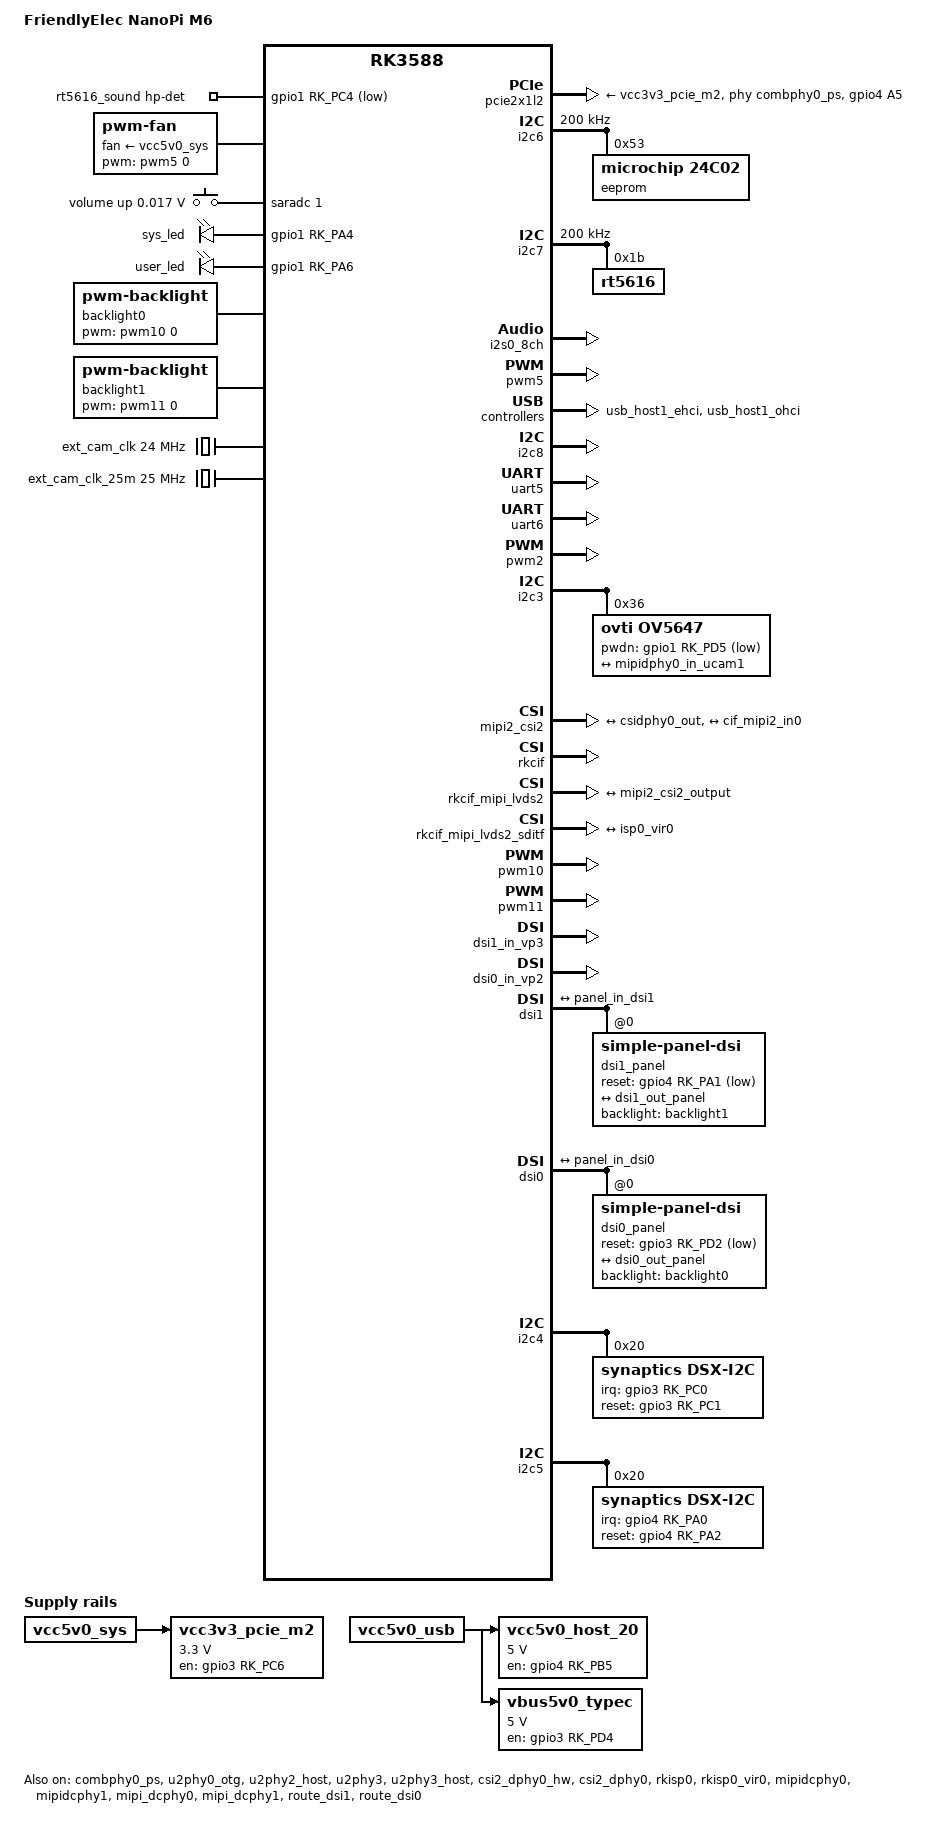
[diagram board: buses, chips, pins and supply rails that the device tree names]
// SPDX-License-Identifier: (GPL-2.0+ OR MIT)
/*
 * Copyright (c) 2024 FriendlyElec Computer Tech. Co., Ltd.
 * (http://www.friendlyelec.com)
 *
 * Copyright (c) 2021 Rockchip Electronics Co., Ltd.
 */

/dts-v1/;

#include "rk3588s-nanopi-r6-common.dtsi"

/ {
	model = "FriendlyElec NanoPi M6";
	compatible = "friendlyelec,nanopi-m6", "rockchip,rk3588";

	aliases {
		ethernet0 = &gmac1;
	};

	rt5616_sound: rt5616-sound {
		status = "okay";
		compatible = "simple-audio-card";
		pinctrl-names = "default";
		pinctrl-0 = <&hp_det>;

		simple-audio-card,name = "realtek,rt5616-codec";
		simple-audio-card,format = "i2s";
		simple-audio-card,mclk-fs = <256>;

		simple-audio-card,hp-det-gpio = <&gpio1 RK_PC4 GPIO_ACTIVE_LOW>;
		simple-audio-card,hp-pin-name = "Headphone Jack";

		simple-audio-card,widgets =
			"Headphone", "Headphone Jack",
			"Microphone", "Microphone Jack";
		simple-audio-card,routing =
			"Headphone Jack", "HPOL",
			"Headphone Jack", "HPOR",
			"MIC1", "Microphone Jack",
			"Microphone Jack", "micbias1";

		simple-audio-card,cpu {
			sound-dai = <&i2s0_8ch>;
		};
		simple-audio-card,codec {
			sound-dai = <&rt5616>;
		};
	};

	fan: pwm-fan {
		status = "okay";
		compatible = "pwm-fan";
		#cooling-cells = <2>;
		fan-supply = <&vcc5v0_sys>;
		pwms = <&pwm5 0 50000 0>;
		cooling-levels = <0 35 64 100 150 255>;
		rockchip,hold-time-ms = <2000>;
		rockchip,temp-trips = <
			50000	1
			55000	2
			60000	3
			65000	4
			70000	5
		>;
	};

	adc_keys: adc-keys {
		compatible = "adc-keys";
		io-channels = <&saradc 1>;
		io-channel-names = "buttons";
		keyup-threshold-microvolt = <1800000>;
		poll-interval = <100>;

		vol-up-key {
			label = "volume up";
			linux,code = <KEY_VOLUMEUP>;
			press-threshold-microvolt = <17000>;
		};
	};

	gpio_leds: gpio-leds {
		compatible = "gpio-leds";

		sys_led: led-0 {
			gpios = <&gpio1 RK_PA4 GPIO_ACTIVE_HIGH>;
			label = "sys_led";
			linux,default-trigger = "heartbeat";
			pinctrl-names = "default";
			pinctrl-0 = <&sys_led_pin>;
		};

		user_led: led-1 {
			gpios = <&gpio1 RK_PA6 GPIO_ACTIVE_HIGH>;
			label = "user_led";
			pinctrl-names = "default";
			pinctrl-0 = <&user_led_pin>;
		};
	};

	vcc3v3_pcie_m2: vcc3v3-pcie30 {
		compatible = "regulator-fixed";
		enable-active-high;
		gpios = <&gpio3 RK_PC6 GPIO_ACTIVE_HIGH>;
		pinctrl-names = "default";
		pinctrl-0 = <&pcie_m2_0_pwren>;
		regulator-name = "vcc3v3_pcie_m2";
		regulator-min-microvolt = <3300000>;
		regulator-max-microvolt = <3300000>;
		vin-supply = <&vcc5v0_sys>;
	};

	vcc5v0_host_20: vcc5v0-host-20 {
		compatible = "regulator-fixed";
		enable-active-high;
		gpio = <&gpio4 RK_PB5 GPIO_ACTIVE_HIGH>;
		pinctrl-names = "default";
		pinctrl-0 = <&vcc5v0_host20_en>;
		regulator-name = "vcc5v0_host_20";
		regulator-min-microvolt = <5000000>;
		regulator-max-microvolt = <5000000>;
		vin-supply = <&vcc5v0_usb>;
	};

	vbus5v0_typec: vbus5v0-typec {
		compatible = "regulator-fixed";
		enable-active-high;
		gpio = <&gpio3 RK_PD4 GPIO_ACTIVE_HIGH>;
		pinctrl-names = "default";
		pinctrl-0 = <&typec5v_pwren>;
		regulator-name = "vbus5v0_typec";
		regulator-min-microvolt = <5000000>;
		regulator-max-microvolt = <5000000>;
		vin-supply = <&vcc5v0_usb>;
	};

	backlight0: backlight0 {
		compatible = "pwm-backlight";
		brightness-levels = <
			0  20  20  21  21  22  22  23
			23  24  24  25  25  26  26  27
			27  28  28  29  29  30  30  31
			31  32  32  33  33  34  34  35
			35  36  36  37  37  38  38  39
			40  41  42  43  44  45  46  47
			48  49  50  51  52  53  54  55
			56  57  58  59  60  61  62  63
			64  65  66  67  68  69  70  71
			72  73  74  75  76  77  78  79
			80  81  82  83  84  85  86  87
			88  89  90  91  92  93  94  95
			96  97  98  99 100 101 102 103
			104 105 106 107 108 109 110 111
			112 113 114 115 116 117 118 119
			120 121 122 123 124 125 126 127
			128 129 130 131 132 133 134 135
			136 137 138 139 140 141 142 143
			144 145 146 147 148 149 150 151
			152 153 154 155 156 157 158 159
			160 161 162 163 164 165 166 167
			168 169 170 171 172 173 174 175
			176 177 178 179 180 181 182 183
			184 185 186 187 188 189 190 191
			192 193 194 195 196 197 198 199
			200 201 202 203 204 205 206 207
			208 209 210 211 212 213 214 215
			216 217 218 219 220 221 222 223
			224 225 226 227 228 229 230 231
			232 233 234 235 236 237 238 239
			240 241 242 243 244 245 246 247
			248 249 250 251 252 253 254 255
		>;
		default-brightness-level = <200>;
		pwms = <&pwm10 0 25000 0>;
		status = "okay";
	};

	backlight1: backlight1 {
		compatible = "pwm-backlight";
		brightness-levels = <
			0  20  20  21  21  22  22  23
			23  24  24  25  25  26  26  27
			27  28  28  29  29  30  30  31
			31  32  32  33  33  34  34  35
			35  36  36  37  37  38  38  39
			40  41  42  43  44  45  46  47
			48  49  50  51  52  53  54  55
			56  57  58  59  60  61  62  63
			64  65  66  67  68  69  70  71
			72  73  74  75  76  77  78  79
			80  81  82  83  84  85  86  87
			88  89  90  91  92  93  94  95
			96  97  98  99 100 101 102 103
			104 105 106 107 108 109 110 111
			112 113 114 115 116 117 118 119
			120 121 122 123 124 125 126 127
			128 129 130 131 132 133 134 135
			136 137 138 139 140 141 142 143
			144 145 146 147 148 149 150 151
			152 153 154 155 156 157 158 159
			160 161 162 163 164 165 166 167
			168 169 170 171 172 173 174 175
			176 177 178 179 180 181 182 183
			184 185 186 187 188 189 190 191
			192 193 194 195 196 197 198 199
			200 201 202 203 204 205 206 207
			208 209 210 211 212 213 214 215
			216 217 218 219 220 221 222 223
			224 225 226 227 228 229 230 231
			232 233 234 235 236 237 238 239
			240 241 242 243 244 245 246 247
			248 249 250 251 252 253 254 255
		>;
		default-brightness-level = <200>;
		pwms = <&pwm11 0 25000 0>;
		status = "okay";
	};

	ext_cam_clk: external-camera-clock {
		compatible = "fixed-clock" ;
		clock-frequency = <24000000>;
		clock-output-names = "CLK_CAMERA_24MHZ";
		#clock-cells = <0>;
	};

	ext_cam_clk_25m: external-camera-clock {
		compatible = "fixed-clock" ;
		clock-frequency = <25000000>;
		clock-output-names = "CLK_CAMERA_24MHZ";
		#clock-cells = <0>;
	};
};


&pcie2x1l2 {
	pinctrl-names = "default";
	pinctrl-0 = <&pcie_m2_0_prsnt>;
	prsnt-gpios = <&gpio4 RK_PA5 GPIO_ACTIVE_HIGH>;
	phys = <&combphy0_ps PHY_TYPE_PCIE>;
	vpcie3v3-supply = <&vcc3v3_pcie_m2>;
	status = "okay";
};

&combphy0_ps {
	status = "okay";
};

&sata0 {
	phys = <&combphy0_ps PHY_TYPE_SATA>;
	target-supply = <&vcc3v3_pcie_m2>;
	status = "disabled";
};

&pinctrl {
	gpio-leds {
		sys_led_pin: sys-led-pin {
			rockchip,pins =
				<1 RK_PA4 RK_FUNC_GPIO &pcfg_pull_none>;
		};

		user_led_pin: lan1-led-pin {
			rockchip,pins =
				<1 RK_PA6 RK_FUNC_GPIO &pcfg_pull_none>;
		};
	};

	headphone {
		hp_det: hp-det {
			rockchip,pins = <1 RK_PC4 RK_FUNC_GPIO &pcfg_pull_none>;
		};
	};

	lcd {
		/omit-if-no-ref/
		lcd_rst0_gpio: lcd-rst0-gpio {
			rockchip,pins = <3 RK_PD2 RK_FUNC_GPIO &pcfg_pull_none>;
		};

		/omit-if-no-ref/
		lcd_rst1_gpio: lcd-rst1-gpio {
			rockchip,pins = <4 RK_PA1 RK_FUNC_GPIO &pcfg_pull_none>;
		};

		/omit-if-no-ref/
		touch_dsi0_gpio: touch-dsi0-gpio {
			rockchip,pins =
				<3 RK_PC0 RK_FUNC_GPIO &pcfg_pull_none>,
				<3 RK_PC1 RK_FUNC_GPIO &pcfg_pull_none>;
		};

		/omit-if-no-ref/
		touch_dsi1_gpio: touch-dsi1-gpio {
			rockchip,pins =
				<4 RK_PA0 RK_FUNC_GPIO &pcfg_pull_none>,
				<4 RK_PA2 RK_FUNC_GPIO &pcfg_pull_none>;
		};
	};

	pcie {
		pcie_m2_0_pwren: pcie-m20-pwren {
			rockchip,pins = <3 RK_PC6 RK_FUNC_GPIO &pcfg_pull_none>;
		};
		pcie_m2_0_prsnt: pcie-m20-prsnt {
			rockchip,pins = <4 RK_PA5 RK_FUNC_GPIO &pcfg_pull_up>;
		};
	};

	usb {
		typec5v_pwren: typec5v-pwren {
			rockchip,pins = <3 RK_PD4 RK_FUNC_GPIO &pcfg_pull_none>;
		};

		vcc5v0_host20_en: vcc5v0-host20-en {
			rockchip,pins = <4 RK_PB5 RK_FUNC_GPIO &pcfg_pull_none>;
		};
	};

	vedio {
		cam_rst_gpio: cam-rst-gpio {
			rockchip,pins = <1 RK_PC6 RK_FUNC_GPIO &pcfg_pull_none>;
		};

		pwdn_gpio: pwdn-gpio {
			rockchip,pins = <1 RK_PD5 RK_FUNC_GPIO &pcfg_pull_up>;
		};
	};
};

// EEPROM is not mounted by default.
&i2c6 {
	clock-frequency = <200000>;
	status = "okay";

	eeprom@53 {
		compatible = "microchip,24c02", "atmel,24c02";
		reg = <0x53>;
		#address-cells = <2>;
		#size-cells = <0>;
		pagesize = <16>;
		size = <256>;

		eui_48: eui-48@fa {
			reg = <0xfa 0x06>;
		};
	};
};

&i2c7 {
	clock-frequency = <200000>;
	status = "okay";

	rt5616: rt5616@1b {
		status = "okay";
		#sound-dai-cells = <0>;
		compatible = "rt5616";
		reg = <0x1b>;
		clocks = <&mclkout_i2s0>;
		clock-names = "mclk";
		assigned-clocks = <&mclkout_i2s0>;
		assigned-clock-rates = <12288000>;
		pinctrl-names = "default";
		pinctrl-0 = <&i2s0_mclk>;
	};

	/* connected with MIPI-CSI1 */
};

&i2s0_8ch {
	status = "okay";
	pinctrl-0 = <&i2s0_lrck
		     &i2s0_sclk
		     &i2s0_sdi0
		     &i2s0_sdo0>;
	rockchip,trcm-sync-tx-only;
};

&pwm5 {
	pinctrl-0 = <&pwm5m1_pins>;
	status = "okay";
};

&u2phy0_otg {
	phy-supply = <&vbus5v0_typec>;
	status = "okay";
};

&u2phy2_host {
	phy-supply = <&vcc5v0_host_20>;
	status = "okay";
};

&u2phy3 {
	status = "okay";
};

&u2phy3_host {
	status = "okay";
};

&usb_host1_ehci {
	status = "okay";
};

&usb_host1_ohci {
	status = "okay";
};

/* GPIO Connector */
&i2c1 {
	pinctrl-0 = <&i2c1m2_xfer>;
	status = "disabled";
};

&i2c8 {
	pinctrl-0 = <&i2c8m2_xfer>;
	status = "okay";
};

&spi0 {
	pinctrl-0 = <&spi0m2_cs0 &spi0m2_pins>;
	status = "disabled";

	spidev0: spidev@0 {
		compatible = "rockchip,spidev";
		reg = <0>;
		spi-max-frequency = <10000000>;
		status = "disabled";
	};
};

&uart0 {
	pinctrl-0 = <&uart0m0_xfer>;
	status = "disabled";
};

&uart4 {
	pinctrl-0 = <&uart4m2_xfer>;
	status = "disabled";
};

&uart5 {
	pinctrl-0 = <&uart5m1_xfer>;
	status = "okay";
};

&uart6 {
	pinctrl-0 = <&uart6m1_xfer>;
	status = "okay";
};

&uart7 {
	pinctrl-0 = <&uart7m2_xfer>;
	status = "disabled";
};

&uart8 {
	pinctrl-0 = <&uart8m0_xfer>;
	status = "disabled";
};

&pwm2 {
	pinctrl-0 = <&pwm2m0_pins>;
	status = "okay";
};

&i2c3 {

	status = "okay";
	ov5647: ov5647@36 {
		status = "okay";
		compatible = "ovti,ov5647";
		reg = <0x36>;
		clocks = <&ext_cam_clk_25m>;
		pwdn-gpios = <&gpio1 RK_PD5 GPIO_ACTIVE_LOW>;
		clock-names = "ext_cam_clk";
		rockchip,camera-module-index = <0>;
		rockchip,camera-module-facing = "back";
		rockchip,camera-module-name = "rpi-camera-v1p3";
		rockchip,camera-module-lens-name = "default";

		port {
			ov5647_out0: endpoint {
				remote-endpoint = <&mipidphy0_in_ucam1>;
				data-lanes = <1 2>;
			};
		};
	};
};

&csi2_dphy0_hw {
	status = "okay";
};

&csi2_dphy0 {
	status = "okay";

	ports {
		#address-cells = <1>;
		#size-cells = <0>;

		port@0 {
			reg = <0>;
			#address-cells = <1>;
			#size-cells = <0>;

			mipidphy0_in_ucam1: endpoint@2 {
				reg = <2>;
				remote-endpoint = <&ov5647_out0>;
				data-lanes = <1 2>;
			};
		};

		port@1 {
			reg = <1>;
			#address-cells = <1>;
			#size-cells = <0>;

			csidphy0_out: endpoint@0 {
				reg = <0>;
				remote-endpoint = <&mipi2_csi2_input>;
			};
		};
	};
};

&mipi2_csi2 {
	status = "okay";

	ports {
		#address-cells = <1>;
		#size-cells = <0>;

		port@0 {
			reg = <0>;
			#address-cells = <1>;
			#size-cells = <0>;

			mipi2_csi2_input: endpoint@1 {
				reg = <1>;
				remote-endpoint = <&csidphy0_out>;
			};
		};

		port@1 {
			reg = <1>;
			#address-cells = <1>;
			#size-cells = <0>;

			mipi2_csi2_output: endpoint@0 {
				reg = <0>;
				remote-endpoint = <&cif_mipi2_in0>;
			};
		};
	};
};

&rkcif {
	status = "okay";
};

&rkcif_mipi_lvds2 {
	status = "okay";

	port {
		cif_mipi2_in0: endpoint {
		remote-endpoint = <&mipi2_csi2_output>;
		};
	};
};

&rkcif_mipi_lvds2_sditf {
	status = "okay";

	port {
		mipi_lvds2_sditf: endpoint {
			remote-endpoint = <&isp0_vir0>;
		};
	};
};

&rkcif_mmu {
	status = "okay";
};

&isp0_mmu {
	status = "okay";
};

&rkisp0 {
	status = "okay";
};

&rkisp0_vir0 {
	status = "okay";

	port {
		#address-cells = <1>;
		#size-cells = <0>;

		isp0_vir0: endpoint@0 {
			reg = <0>;
			remote-endpoint = <&mipi_lvds2_sditf>;
		};
	};
};

&pwm10{
	pinctrl-0 = <&pwm10m2_pins>;
	status = "okay";
};

&pwm11{
	pinctrl-0 = <&pwm11m3_pins>;
	status = "okay";
};

&mipidcphy0{
	status = "okay";
};

&mipidcphy1{
	status = "okay";
};

&mipi_dcphy0{
	status = "okay";
};

&mipi_dcphy1{
	status = "okay";
};

&route_dsi1{
	connect = <&vp3_out_dsi1>;
	status = "okay";
};

&route_dsi0{
	connect = <&vp2_out_dsi0>;
	status = "okay";
};

&dsi1_in_vp3{
	status = "okay";
};

&dsi0_in_vp2{
	status = "okay";
};

&dsi0_in_vp3{
	status = "disabled";
};

&dsi1_in_vp2{
	status = "disabled";
};

&dsi1{
	status = "okay";
	dsi1_panel: panel@0 {
		compatible = "simple-panel-dsi";
		reg = <0>;
		status = "okay";
		backlight = <&backlight1>;
		pinctrl-names = "default";
		pinctrl-0 = <&lcd_rst1_gpio>;
		reset-gpios = <&gpio4 RK_PA1 GPIO_ACTIVE_LOW>;
 		reset-delay-ms = <1>;
		enable-delay-ms = <150>;
		prepare-delay-ms = <20>;
		unprepare-delay-ms = <20>;
		disable-delay-ms = <20>;
		init-delay-ms = <10>;
		width-mm = <45>;
		height-mm = <75>;
		dsi,flags = <(MIPI_DSI_MODE_VIDEO | MIPI_DSI_MODE_VIDEO_BURST | MIPI_DSI_MODE_LPM | MIPI_DSI_CLOCK_NON_CONTINUOUS)>;
		dsi,format = <MIPI_DSI_FMT_RGB888>;
		dsi,lanes  = <4>;
		panel-init-sequence = [
			15 78 02 11 00
			15 14 02 29 00
			15 00 02 51 ff
		];

		panel-exit-sequence = [
			15 00 02 28 00
			15 3C 02 10 00
		];

		display-timings {
			native-mode = <&dsi1_timing>;
			dsi1_timing: timing1 {
				clock-frequency = <141000000>;// (1920+4+3+1)*(1080+96+33+12)*60=134800000
                   		hactive = <1080>;
				hfront-porch = <96>;

				hback-porch = <33>;
				hsync-len = <12>;

				vactive = <1920>;
				vfront-porch = <4>;
				vback-porch = <3>;
				vsync-len = <1>;

				hsync-active = <0>;
				vsync-active = <0>;
				de-active = <0>;
				pixelclk-active = <0>;

			};
		};

		ports {
			#address-cells = <1>;
			#size-cells = <0>;

			port@0 {
				reg = <0>;
				panel_in_dsi1: endpoint {
					remote-endpoint = <&dsi1_out_panel>;
				};
		};
		};
	};

	ports {
		#address-cells = <1>;
		#size-cells = <0>;

		port@1 {
			reg = <1>;
			dsi1_out_panel: endpoint {
				remote-endpoint = <&panel_in_dsi1>;
			};
		};
 	};
 };

&dsi0{
	status = "okay";
	dsi0_panel: panel@0 {
		compatible = "simple-panel-dsi";
		reg = <0>;
		status = "okay";
		backlight = <&backlight0>;
		pinctrl-names = "default";
		pinctrl-0 = <&lcd_rst0_gpio>;
		reset-gpios = <&gpio3 RK_PD2 GPIO_ACTIVE_LOW>;
 		reset-delay-ms = <1>;
		enable-delay-ms = <150>;
		prepare-delay-ms = <20>;
		unprepare-delay-ms = <20>;
		disable-delay-ms = <20>;
		init-delay-ms = <10>;
		width-mm = <45>;
		height-mm = <75>;
		dsi,flags = <(MIPI_DSI_MODE_VIDEO | MIPI_DSI_MODE_VIDEO_BURST | MIPI_DSI_MODE_LPM | MIPI_DSI_CLOCK_NON_CONTINUOUS)>;
		dsi,format = <MIPI_DSI_FMT_RGB888>;
		dsi,lanes  = <4>;
		panel-init-sequence = [
			15 78 02 11 00
			15 14 02 29 00
			15 00 02 51 ff
		];

		panel-exit-sequence = [
			15 00 02 28 00
			15 3C 02 10 00
		];

		display-timings {
			native-mode = <&dsi0_timing>;
			dsi0_timing: timing0 {
				clock-frequency = <141000000>;// (1920+4+3+1)*(1080+96+33+12)*60=134800000
                hactive = <1080>;
				hfront-porch = <96>;

				hback-porch = <33>;
				hsync-len = <12>;

				vactive = <1920>;
				vfront-porch = <4>;
				vback-porch = <3>;
				vsync-len = <1>;

				hsync-active = <0>;
				vsync-active = <0>;
				de-active = <0>;
				pixelclk-active = <0>;

			};
		};

		ports {
			#address-cells = <1>;
			#size-cells = <0>;
			port@0 {
				reg = <0>;
				panel_in_dsi0: endpoint {
					remote-endpoint = <&dsi0_out_panel>;
				};
			};
		};
	};
	ports {
		#address-cells = <1>;
		#size-cells = <0>;
		port@1 {
			reg = <1>;
			dsi0_out_panel: endpoint {
				remote-endpoint = <&panel_in_dsi0>;
			};
		};
	};
};

&i2c4 {
	pinctrl-0 = <&i2c4m3_xfer>;
	status = "okay";

	synaptics@20 {
                compatible = "synaptics,dsx-i2c";
                reg = <0x20>;
                synaptics,irq-gpio = <&gpio3 RK_PC0 IRQ_TYPE_EDGE_FALLING>;
                synaptics,reset-gpio = <&gpio3 RK_PC1 GPIO_ACTIVE_HIGH>;
                synaptics,irq-on-state = <0>;
                synaptics,power-delay-ms = <200>;
                synaptics,reset-delay-ms = <200>;
                synaptics,reset-on-state = <0>;
                synaptics,reset-active-ms = <20>;
                synaptics,max-y-for-2d = <1920>;
                status = "okay";
        };
};

&i2c5 {
        pinctrl-0 = <&i2c5m2_xfer>;
        status = "okay";
                
        synaptics@20 {
                compatible = "synaptics,dsx-i2c";
                reg = <0x20>;
                synaptics,irq-gpio = <&gpio4 RK_PA0 IRQ_TYPE_EDGE_FALLING>;
                synaptics,reset-gpio = <&gpio4 RK_PA2 GPIO_ACTIVE_HIGH>;
                synaptics,irq-on-state = <0>;
                synaptics,power-delay-ms = <200>;
                synaptics,reset-delay-ms = <200>;
                synaptics,reset-on-state = <0>;
                synaptics,reset-active-ms = <20>;
                synaptics,max-y-for-2d = <1920>;
                status = "okay";
        };
};
